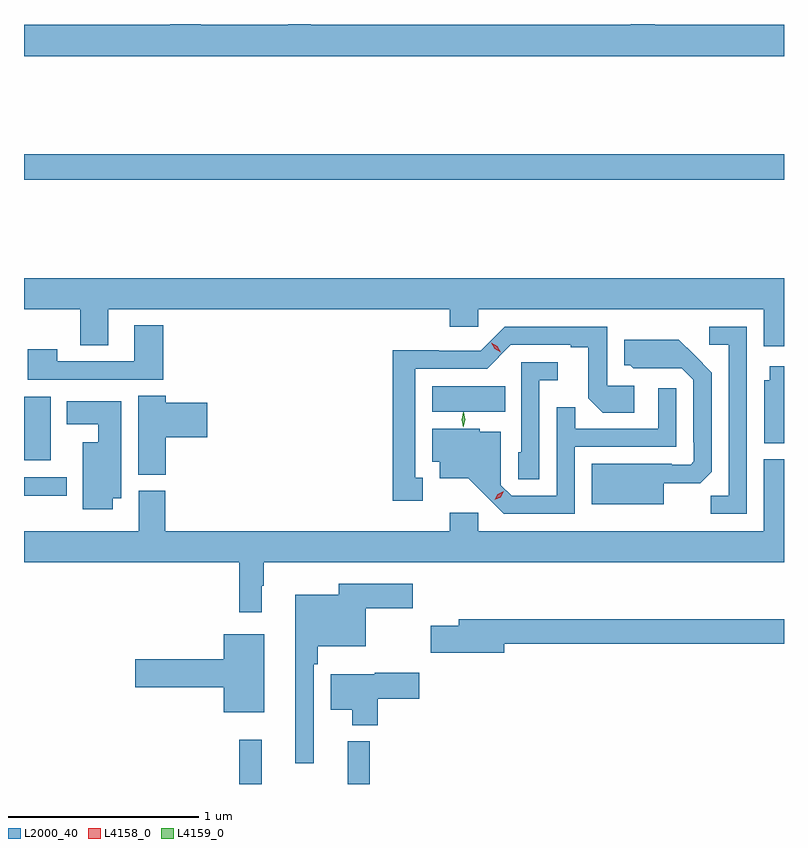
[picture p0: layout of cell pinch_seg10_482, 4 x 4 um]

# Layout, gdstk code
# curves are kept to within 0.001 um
import gdstk
lib = gdstk.Library(unit=1e-6, precision=1e-09)
def R(c, l, rs):  # rectangles x0, y0, x1, y1
    for r in rs: c.add(gdstk.rectangle(r[:2], r[2:], *l))
def P(c, l, *ps):  # polygons
    for p in ps: c.add(gdstk.Polygon(p, *l))
L2000_40 = (2000, 40)
L4158_0 = (4158, 0)
L4159_0 = (4159, 0)

pinch_seg10_482 = lib.new_cell('pinch_seg10_482')
R(pinch_seg10_482, L2000_40, [(255.571,1304.477,255.689,1304.71), (256.142,1304.477,256.259,1304.701), (254.438,1305.995,254.662,1306.092), (254.438,1306.181,254.578,1306.516), (256.586,1306.436,256.97,1306.57), (254.438,1307.656,258.438,1307.792)])
P(pinch_seg10_482, L2000_40, [(258.438,1308.472),(257.759,1308.472),(257.759,1308.477),(257.631,1308.477),(257.631,1308.472),(255.947,1308.472),(255.947,1308.477),(255.83,1308.477),(255.83,1308.472),(255.369,1308.472),(255.369,1308.477),(255.209,1308.477),(255.209,1308.472),(254.438,1308.472),(254.438,1308.308),(258.438,1308.308)],
  [(258.438,1307.14),(254.438,1307.14),(254.438,1306.976),(254.734,1306.976),(254.734,1306.786),(254.881,1306.786),(254.881,1306.976),(256.679,1306.976),(256.679,1306.883),(256.83,1306.883),(256.83,1306.976),(258.332,1306.976),(258.332,1306.782),(258.438,1306.782)],
  [(255.17,1306.891),(255.017,1306.891),(255.017,1306.701),(254.613,1306.701),(254.613,1306.765),(254.457,1306.765),(254.457,1306.605),(255.17,1306.605)],
  [(258.243,1306.884),(258.045,1306.884),(258.045,1306.788),(258.147,1306.788),(258.147,1305.995),(258.052,1305.995),(258.052,1305.9),(258.243,1305.9)],
  [(256.537,1306.089),(256.498,1306.089),(256.498,1306.662),(256.875,1306.662),(257.001,1306.788),(257.315,1306.788),(257.315,1306.776),(257.409,1306.776),(257.409,1306.508),(257.485,1306.432),(257.65,1306.432),(257.65,1306.572),(257.508,1306.572),(257.508,1306.884),(256.968,1306.884),(256.842,1306.758),(256.62,1306.758),(256.62,1306.76),(256.38,1306.76),(256.38,1305.969),(256.537,1305.969)],
  [(257.806,1306.061),(257.998,1306.061),(258.057,1306.12),(258.057,1306.642),(257.885,1306.816),(257.597,1306.816),(257.597,1306.68),(257.628,1306.68),(257.644,1306.664),(257.901,1306.665),(257.961,1306.605),(257.961,1306.276),(257.964,1306.276),(257.964,1306.176),(257.946,1306.158),(257.846,1306.158),(257.846,1306.162),(257.426,1306.162),(257.426,1305.95),(257.806,1305.95)],
  [(257.151,1306.601),(257.248,1306.601),(257.248,1306.698),(257.055,1306.698),(257.055,1306.224),(257.04,1306.224),(257.04,1306.081),(257.151,1306.081)],
  [(258.438,1306.675),(258.362,1306.675),(258.362,1306.602),(258.335,1306.602),(258.335,1306.271),(258.438,1306.271)],
  [(257.337,1306.251),(257.871,1306.251),(257.871,1306.561),(257.775,1306.561),(257.775,1306.347),(257.339,1306.347),(257.339,1306.46),(257.241,1306.46),(257.241,1305.993),(257.004,1305.993),(256.947,1306.05),(256.947,1306.33),(256.836,1306.33),(256.836,1306.348),(256.586,1306.348),(256.586,1306.172),(256.625,1306.172),(256.625,1306.085),(256.777,1306.085),(256.964,1305.9),(257.337,1305.9)],
  [(255.185,1306.301),(255.403,1306.301),(255.403,1306.484),(255.185,1306.484),(255.185,1306.52),(255.038,1306.52),(255.038,1306.105),(255.185,1306.105)],
  [(254.905,1305.98),(254.95,1305.98),(254.95,1306.492),(254.663,1306.492),(254.663,1306.37),(254.828,1306.37),(254.828,1306.276),(254.747,1306.276),(254.747,1305.924),(254.905,1305.924)],
  [(255.688,1305.521),(255.7,1305.521),(255.7,1305.644),(258.438,1305.644),(258.438,1306.186),(258.332,1306.186),(258.332,1305.808),(256.83,1305.808),(256.83,1305.904),(256.679,1305.904),(256.679,1305.808),(255.182,1305.808),(255.182,1306.02),(255.041,1306.02),(255.041,1305.808),(254.438,1305.808),(254.438,1305.644),(255.571,1305.644),(255.571,1305.381),(255.688,1305.381)],
  [(255.963,1305.107),(255.983,1305.107),(255.983,1305.203),(256.237,1305.203),(256.237,1305.403),(256.483,1305.403),(256.483,1305.532),(256.094,1305.532),(256.094,1305.472),(255.866,1305.472),(255.866,1304.586),(255.963,1304.586)],
  [(256.966,1305.214),(258.438,1305.214),(258.438,1305.343),(256.727,1305.343),(256.727,1305.309),(256.578,1305.309),(256.578,1305.167),(256.966,1305.167)],
  [(255.703,1305.265),(255.488,1305.265),(255.488,1305.134),(255.024,1305.134),(255.024,1304.987),(255.488,1304.987),(255.488,1304.855),(255.703,1304.855)],
  [(256.301,1304.926),(256.519,1304.926),(256.519,1305.063),(256.284,1305.063),(256.284,1305.055),(256.052,1305.055),(256.052,1304.867),(256.166,1304.867),(256.166,1304.786),(256.301,1304.786)])
P(pinch_seg10_482, L4158_0, [(256.915,1305.972),(256.915,1305.972),(256.932,1306.002),(256.963,1306.017),(256.963,1306.017),(256.963,1306.017),(256.946,1305.987),(256.916,1305.972)],
  [(256.948,1306.749),(256.916,1306.767),(256.898,1306.799),(256.898,1306.8),(256.898,1306.8),(256.93,1306.781),(256.948,1306.749),(256.948,1306.749)])
P(pinch_seg10_482, L4159_0, [(256.75,1306.354),(256.75,1306.354),(256.741,1306.394),(256.751,1306.434),(256.751,1306.434),(256.752,1306.434),(256.761,1306.394),(256.75,1306.354)])

lib.write_gds('pinch_seg10_482.gds')
